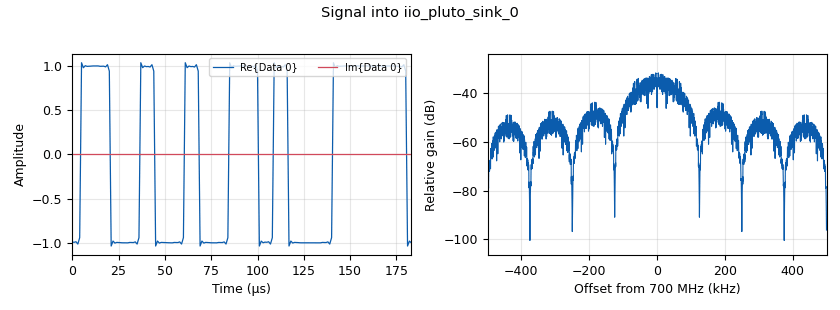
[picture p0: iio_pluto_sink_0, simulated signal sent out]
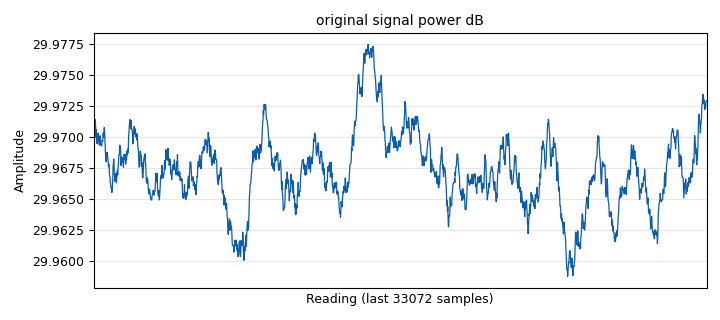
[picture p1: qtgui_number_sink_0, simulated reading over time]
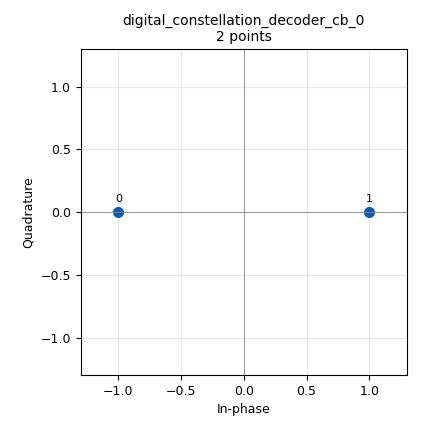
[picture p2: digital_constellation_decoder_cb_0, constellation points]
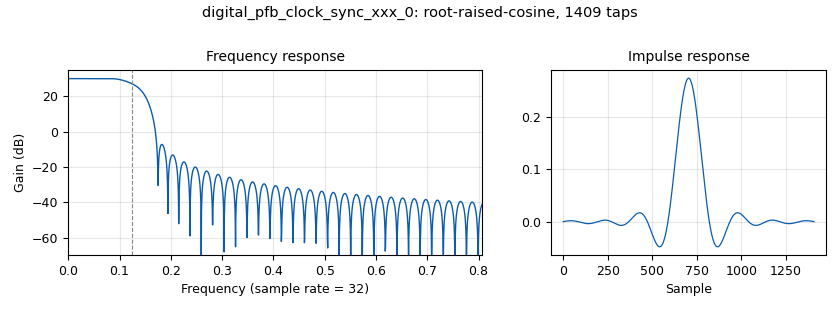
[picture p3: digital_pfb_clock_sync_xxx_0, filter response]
options:
  parameters:
    category: Custom
    generate_options: qt_gui
    id: final
    output_language: python
    title: final
  states: {}

blocks:
- name: bpsk
  id: variable_constellation
  parameters:
    precision: '2'
    type: bpsk
  states: {}
- name: delay
  id: variable_qtgui_range
  parameters:
    comment: 0,3,1,1
    gui_hint: 0,3,1,1
    label: Delay
    rangeType: int
    start: '0'
    step: '1'
    stop: '500'
    value: '28'
  states: {}
- name: excess_bw
  id: variable
  parameters:
    value: '0.35'
  states: {}
- name: nfilts
  id: variable
  parameters:
    value: '32'
  states: {}
- name: noise
  id: variable_qtgui_range
  parameters:
    label: noise
    start: '0'
    step: '0.01'
    stop: '1'
    value: '0.1'
  states: {}
- name: phase_bw
  id: variable
  parameters:
    value: '0.0628'
  states: {}
- name: rrc_taps
  id: variable
  parameters:
    value: firdes.root_raised_cosine(nfilts, nfilts, 1.0/float(sps), 0.35, 11*sps*nfilts)
  states: {}
- name: samp_rate
  id: variable
  parameters:
    value: '1000000'
  states: {}
- name: sps
  id: variable
  parameters:
    value: '4'
  states: {}
- name: timing_loop_bw
  id: variable
  parameters:
    value: '0.0628'
  states: {}
- name: analog_noise_source_x_0
  id: analog_noise_source_x
  parameters:
    amp: '1'
    noise_type: analog.GR_GAUSSIAN
    seed: '0'
    type: complex
  states: {}
- name: analog_random_source_x_0
  id: analog_random_source_x
  parameters:
    max: '2'
    min: '0'
    num_samps: '10000'
    repeat: 'False'
    type: byte
  states: {}
- name: blocks_add_xx_0
  id: blocks_add_xx
  parameters:
    type: complex
  states: {}
- name: blocks_char_to_float_0_0
  id: blocks_char_to_float
  parameters:
    scale: '1'
  states: {}
- name: blocks_complex_to_float_0
  id: blocks_complex_to_float
  parameters: {}
  states: {}
- name: blocks_complex_to_mag_squared_0
  id: blocks_complex_to_mag_squared
  parameters: {}
  states: {}
- name: blocks_complex_to_mag_squared_0_0
  id: blocks_complex_to_mag_squared
  parameters: {}
  states: {}
- name: blocks_complex_to_mag_squared_0_0_0
  id: blocks_complex_to_mag_squared
  parameters: {}
  states: {}
- name: blocks_divide_xx_0
  id: blocks_divide_xx
  parameters:
    type: float
  states: {}
- name: blocks_moving_average_xx_0
  id: blocks_moving_average_xx
  parameters:
    length: '1000'
    max_iter: '4000'
    scale: '1'
    type: float
  states: {}
- name: blocks_moving_average_xx_0_0
  id: blocks_moving_average_xx
  parameters:
    length: '1000'
    max_iter: '4000'
    scale: '1'
    type: float
  states: {}
- name: blocks_moving_average_xx_0_0_0
  id: blocks_moving_average_xx
  parameters:
    length: '1000'
    max_iter: '4000'
    scale: '1'
    type: float
  states: {}
- name: blocks_multiply_const_vxx_0
  id: blocks_multiply_const_vxx
  parameters:
    const: '10'
    type: float
  states: {}
- name: blocks_multiply_const_vxx_0_0
  id: blocks_multiply_const_vxx
  parameters:
    const: '10'
    type: float
  states: {}
- name: blocks_multiply_const_vxx_0_1
  id: blocks_multiply_const_vxx
  parameters:
    const: '10'
    type: float
  states: {}
- name: blocks_multiply_const_vxx_0_2
  id: blocks_multiply_const_vxx
  parameters:
    const: '10'
    type: float
  states: {}
- name: blocks_multiply_const_vxx_1
  id: blocks_multiply_const_vxx
  parameters:
    const: noise
    type: complex
  states: {}
- name: blocks_nlog10_ff_0
  id: blocks_nlog10_ff
  parameters:
    k: '0'
  states: {}
- name: blocks_nlog10_ff_0_0
  id: blocks_nlog10_ff
  parameters:
    k: '0'
  states: {}
- name: blocks_nlog10_ff_0_1
  id: blocks_nlog10_ff
  parameters:
    k: '0'
  states: {}
- name: blocks_nlog10_ff_0_2
  id: blocks_nlog10_ff
  parameters:
    k: '0'
  states: {}
- name: digital_constellation_decoder_cb_0
  id: digital_constellation_decoder_cb
  parameters:
    constellation: bpsk
  states: {}
- name: digital_constellation_modulator_0
  id: digital_constellation_modulator
  parameters:
    constellation: bpsk
    differential: 'True'
    excess_bw: excess_bw
    samples_per_symbol: sps
  states: {}
- name: digital_costas_loop_cc_0
  id: digital_costas_loop_cc
  parameters:
    order: '2'
    use_snr: 'True'
    w: phase_bw
  states: {}
- name: digital_diff_decoder_bb_0
  id: digital_diff_decoder_bb
  parameters:
    coding: digital.DIFF_DIFFERENTIAL
    modulus: '2'
  states: {}
- name: digital_pfb_clock_sync_xxx_0
  id: digital_pfb_clock_sync_xxx
  parameters:
    filter_size: nfilts
    init_phase: nfilts/2
    loop_bw: timing_loop_bw
    max_dev: '1.5'
    osps: '1'
    sps: sps
    taps: rrc_taps
    type: ccf
  states: {}
- name: iio_pluto_sink_0
  id: iio_pluto_sink
  parameters:
    attenuation1: '-5.0'
    bandwidth: '20000000'
    buffer_size: '32768'
    cyclic: 'True'
    filter_source: '''Auto'''
    frequency: '700000000'
    samplerate: samp_rate
    type: fc32
    uri: usb:1.18.5
  states: {}
- name: iio_pluto_source_0
  id: iio_pluto_source
  parameters:
    bandwidth: '20000000'
    bbdc: 'True'
    buffer_size: '32768'
    filter_source: '''Auto'''
    frequency: '700000000'
    gain1: '''manual'''
    len_tag_key: ''
    manual_gain1: '30'
    quadrature: 'True'
    rfdc: 'True'
    samplerate: samp_rate
    type: fc32
    uri: usb:1.18.5
  states: {}
- name: qtgui_const_sink_x_0
  id: qtgui_const_sink_x
  parameters:
    comment: 2,0,1,4
    gui_hint: 2,0,1,4
    name: ''
    size: '1024'
    type: complex
  states: {}
- name: qtgui_histogram_sink_x_1
  id: qtgui_histogram_sink_x
  parameters:
    bins: '100'
    size: '1024'
    type: float
    xmax: '1'
    xmin: '-1'
  states: {}
- name: qtgui_number_sink_0
  id: qtgui_number_sink
  parameters:
    graph_type: qtgui.NUM_GRAPH_HORIZ
    max: '50'
    min: '0'
    name: '"original signal power dB"'
    type: float
  states: {}
- name: qtgui_number_sink_0_0
  id: qtgui_number_sink
  parameters:
    graph_type: qtgui.NUM_GRAPH_HORIZ
    max: '50'
    min: '0'
    name: '"noise power dB"'
    type: float
  states: {}
- name: qtgui_number_sink_0_0_0
  id: qtgui_number_sink
  parameters:
    graph_type: qtgui.NUM_GRAPH_HORIZ
    max: '50'
    min: '0'
    name: '"recieved power dB"'
    type: float
  states: {}
- name: qtgui_number_sink_0_0_0_0
  id: qtgui_number_sink
  parameters:
    graph_type: qtgui.NUM_GRAPH_HORIZ
    max: '50'
    min: '0'
    name: '"SNR dB"'
    type: float
  states: {}
- name: qtgui_time_sink_x_0
  id: qtgui_time_sink_x
  parameters:
    size: '1024'
    srate: samp_rate
    type: float
  states: {}

connections:
- [analog_noise_source_x_0, '0', blocks_multiply_const_vxx_1, '0']
- [analog_random_source_x_0, '0', digital_constellation_modulator_0, '0']
- [blocks_add_xx_0, '0', blocks_complex_to_mag_squared_0_0_0, '0']
- [blocks_add_xx_0, '0', digital_costas_loop_cc_0, '0']
- [blocks_char_to_float_0_0, '0', qtgui_time_sink_x_0, '0']
- [blocks_complex_to_float_0, '0', qtgui_histogram_sink_x_1, '0']
- [blocks_complex_to_mag_squared_0, '0', blocks_moving_average_xx_0, '0']
- [blocks_complex_to_mag_squared_0_0, '0', blocks_moving_average_xx_0_0, '0']
- [blocks_complex_to_mag_squared_0_0_0, '0', blocks_moving_average_xx_0_0_0, '0']
- [blocks_divide_xx_0, '0', blocks_nlog10_ff_0, '0']
- [blocks_moving_average_xx_0, '0', blocks_nlog10_ff_0_2, '0']
- [blocks_moving_average_xx_0_0, '0', blocks_divide_xx_0, '1']
- [blocks_moving_average_xx_0_0, '0', blocks_nlog10_ff_0_0, '0']
- [blocks_moving_average_xx_0_0_0, '0', blocks_divide_xx_0, '0']
- [blocks_moving_average_xx_0_0_0, '0', blocks_nlog10_ff_0_1, '0']
- [blocks_multiply_const_vxx_0, '0', qtgui_number_sink_0_0_0_0, '0']
- [blocks_multiply_const_vxx_0_0, '0', qtgui_number_sink_0_0, '0']
- [blocks_multiply_const_vxx_0_1, '0', qtgui_number_sink_0_0_0, '0']
- [blocks_multiply_const_vxx_0_2, '0', qtgui_number_sink_0, '0']
- [blocks_multiply_const_vxx_1, '0', blocks_add_xx_0, '1']
- [blocks_multiply_const_vxx_1, '0', blocks_complex_to_mag_squared_0_0, '0']
- [blocks_nlog10_ff_0, '0', blocks_multiply_const_vxx_0, '0']
- [blocks_nlog10_ff_0_0, '0', blocks_multiply_const_vxx_0_0, '0']
- [blocks_nlog10_ff_0_1, '0', blocks_multiply_const_vxx_0_1, '0']
- [blocks_nlog10_ff_0_2, '0', blocks_multiply_const_vxx_0_2, '0']
- [digital_constellation_decoder_cb_0, '0', digital_diff_decoder_bb_0, '0']
- [digital_constellation_modulator_0, '0', digital_pfb_clock_sync_xxx_0, '0']
- [digital_costas_loop_cc_0, '0', blocks_complex_to_float_0, '0']
- [digital_costas_loop_cc_0, '0', digital_constellation_decoder_cb_0, '0']
- [digital_costas_loop_cc_0, '0', qtgui_const_sink_x_0, '0']
- [digital_diff_decoder_bb_0, '0', blocks_char_to_float_0_0, '0']
- [digital_pfb_clock_sync_xxx_0, '0', blocks_complex_to_mag_squared_0, '0']
- [digital_pfb_clock_sync_xxx_0, '0', iio_pluto_sink_0, '0']
- [iio_pluto_source_0, '0', blocks_add_xx_0, '0']

metadata:
  file_format: 1
  grc_version: 3.10.12.0
